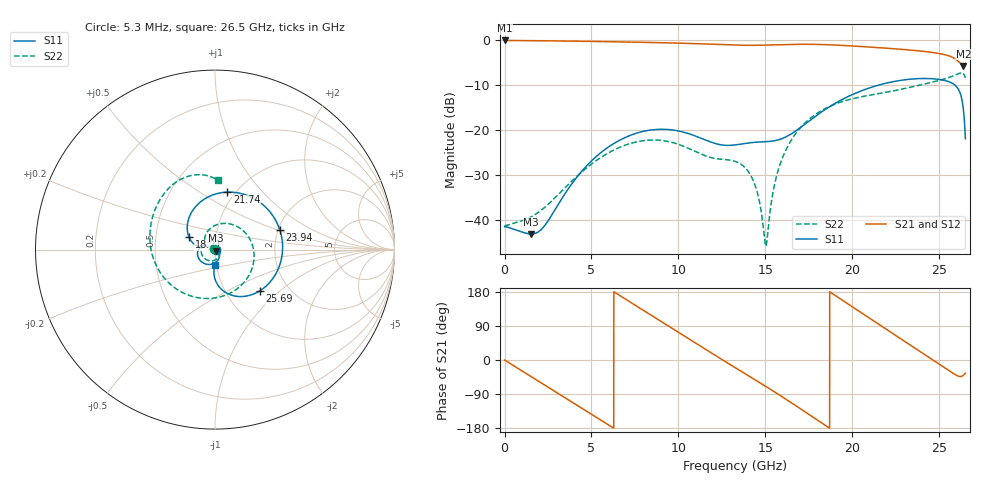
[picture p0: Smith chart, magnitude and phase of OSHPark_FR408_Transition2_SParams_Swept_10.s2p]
! TOUCHSTONE file generated by CST MICROWAVE STUDIO
! Date and time: Tue Jan  7 09:43:16 2020
! Project name: OSHPark_FR408_Transition2.cst
! Parameters = {GND_Plane_XMax=12; Cap_Disk_XOffset=0; Cap_Disk2_YCenter=-1.03; Cap_Disk_YCenter=1.03; Cap_Disk_XCenter=7.39; Cap_Disk_Radius=0.5; BottomSupport_Left_YMax=4.76; BottomSupport_Left_YMin=3.74; BottomSupport_Right_YMax=-3.74; BottomSupport_Right_YMin=-4.76; BottomSupport_XMax=11.64; Bot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
! Header version: 2015
! Port assignment regex: !\s*Touchstone port\s*([0-9]+)\s*=\s*CST MWS port\s*([0-9]+)\s*\(\"(.*)\"\)(\s*mode\s*([0-9]+))?.*
! Touchstone port assignment:
! Touchstone port 1 = CST MWS port 1 ("")
! Touchstone port 2 = CST MWS port 2 ("")
# GHz S MA R 50
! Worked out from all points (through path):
!   5000 points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, 5.3 MHz to 26.5 GHz, reference 50 ohm
!   highest |S21| = 0.00 dB at 5.3 MHz (marker M1); lowest = -5.6 dB at 26.38 GHz (marker M2)
!   group delay of S21, straight-line fit = 81.1 ps
!   lowest |S11| = -43.0 dB at 1.537 GHz (marker M3), VSWR 1.01, Z = 50.5 - j0.518 ohm
!   |S11| at or under -10 dB: start of sweep to 21.44 GHz; 25.92 GHz to end of sweep
!   |S22| runs from -45.7 to -7.2 dB; largest |S21 - S12| = 0
!   S11 on the Smith chart (normalised r, x): 5.3 MHz: 1.01, -0.01; 18.21 GHz: 0.74, +0.10; 21.74 GHz: 0.92, +0.66; 23.94 GHz: 2.04, +0.53; 25.69 GHz: 1.44, -0.75; 26.5 GHz: 0.99, -0.16
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0.0053  0.008533 -35.2  1 -0.2  1 -0.2  0.008762 142.8
1.537  0.007075 -46.5  0.9947 -44.0  0.9947 -44.0  0.01097 78.7
2.9892  0.01401 -26.3  0.988 -85.6  0.988 -85.6  0.01856 13.9
4.4255  0.03495 -45.6  0.9798 -126.7  0.9798 -126.7  0.03428 -37.8
5.5226  0.05632 -69.6  0.9725 -158.2  0.9725 -158.2  0.0498 -72.4
6.5508  0.07661 -93.8  0.9648 172.3  0.9648 172.3  0.06405 -103.3
8.8404  0.1029 -146.9  0.9456 106.5  0.9456 106.5  0.07804 -169.6
10.0329  0.09838 -171.0  0.9337 72.2  0.9337 72.2  0.06977 159.4
11.3314  0.08149 171.0  0.9171 34.7  0.9171 34.7  0.0543 135.1
13.2553  0.06903 168.9  0.8882 -20.0  0.8882 -20.0  0.04536 104.8
14.3418  0.07372 166.1  0.8835 -50.4  0.8835 -50.4  0.02657 71.6
15.0308  0.07506 164.5  0.8887 -69.9  0.8887 -69.9  0.00518 122.4
15.9318  0.0808 166.9  0.8996 -96.1  0.8996 -96.1  0.04686 162.1
17.6702  0.1344 161.9  0.9061 -148.6  0.9061 -148.6  0.1407 84.3
18.2108  0.1597 154.6  0.9014 -165.2  0.9014 -165.2  0.1655 59.8
19.7001  0.2354 126.5  0.8753 149.3  0.8753 149.3  0.2173 -4.0
21.7406  0.3278 77.8  0.8258 87.7  0.8258 87.7  0.2614 -78.3
22.0851  0.34 68.8  0.8169 77.3  0.8169 77.3  0.2689 -89.4
23.9401  0.3775 17.1  0.7623 21.2  0.7623 21.2  0.3211 -148.0
25.6891  0.3393 -42.6  0.659 -32.2  0.659 -32.2  0.3963 149.6
26.3834  0.1721 -89.1  0.5223 -40.1  0.5223 -40.1  0.4269 102.1
26.5  0.08066 -88.3  0.5556 -34.8  0.5556 -34.8  0.3837 87.0
